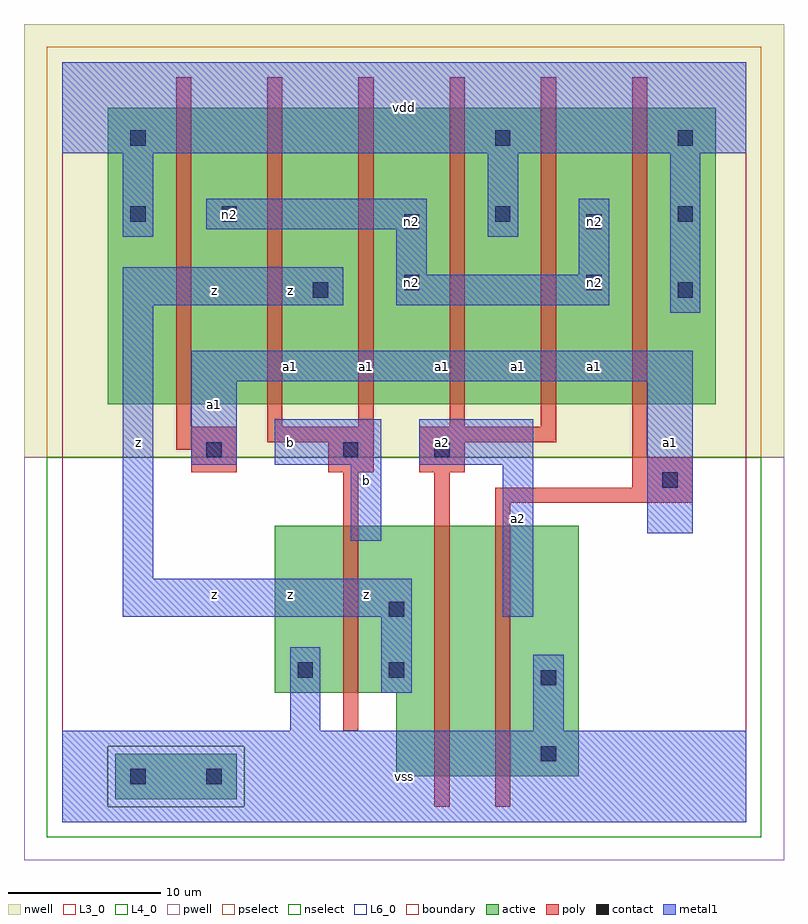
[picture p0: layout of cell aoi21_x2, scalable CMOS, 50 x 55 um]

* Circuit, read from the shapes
.subckt aoi21_x2 a1 a2 b n2 vdd vss z
M1 z b vss vss nfet w=11u l=1u
M2 n1 a2 z vss nfet w=16.5u l=1u
M3 vss a1 n1 vss nfet w=16.5u l=1u
M4 n2 a1 vdd n3 pfet w=19.5u l=1u m=2
M5 z b n2 n3 pfet w=19.5u l=1u m=2
M6 vdd a2 n2 n3 pfet w=19.5u l=1u m=2
.ends

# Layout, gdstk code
import gdstk
lib = gdstk.Library(unit=1e-6, precision=1e-09)
def R(c, l, rs):  # rectangles x0, y0, x1, y1
    for r in rs: c.add(gdstk.rectangle(r[:2], r[2:], *l))
def A(c, l, x, y, w, h, nx, ny, dx, dy):  # array of equal rectangles
    R(c, l, [(x+i*dx, y+j*dy, x+i*dx+w, y+j*dy+h) for i in range(nx) for j in range(ny)])
L3_0 = (3, 0)
L4_0 = (4, 0)
L6_0 = (6, 0)
contact = (25, 0)
pwell = (41, 0)
nwell = (42, 0)
active = (43, 0)
pselect = (44, 0)
nselect = (45, 0)
poly = (46, 0)
metal1 = (49, 0)
boundary = (63, 0)

aoi21_x2 = lib.new_cell('aoi21_x2')
R(aoi21_x2, L3_0, [(22,3,34,8.5), (14,8.5,34,19.5)])
R(aoi21_x2, L4_0, [(3,27.5,43,47)])
R(aoi21_x2, L6_0, [(3.5,1.5,11.5,4.5)])
A(aoi21_x2, contact, 40.5, 34.5, 1, 1, 1, 3, 0, 5)
R(aoi21_x2, contact, [(4.5,2.5,5.5,3.5), (9.5,2.5,10.5,3.5), (31.5,4,32.5,5), (31.5,9,32.5,10), (15.5,9.5,16.5,10.5), (21.5,9.5,22.5,10.5), (21.5,13.5,22.5,14.5), (39.5,22,40.5,23), (9.5,24,10.5,25), (18.5,24,19.5,25), (24.5,24,25.5,25), (16.5,34.5,17.5,35.5), (22.5,35,23.5,36), (34.5,35,35.5,36), (22.5,39,23.5,40), (34.5,39,35.5,40), (4.5,39.5,5.5,40.5), (10.5,39.5,11.5,40.5), (28.5,39.5,29.5,40.5), (4.5,44.5,5.5,45.5), (28.5,44.5,29.5,45.5)])
R(aoi21_x2, pwell, [(-2.5,-2.5,47.5,24)])
R(aoi21_x2, nwell, [(-2.5,24,47.5,52.5)])
R(aoi21_x2, active, [(3.5,1.5,11.5,4.5), (22,3,34,8.5), (14,8.5,34,19.5), (3,27.5,43,47)])
R(aoi21_x2, pselect, [(3,1,12,5), (-1,24,46,51)])
R(aoi21_x2, nselect, [(-1,-1,46,1), (-1,1,3,5), (12,1,46,5), (-1,5,46,24)])
A(aoi21_x2, poly, 7.5, 26, 1, 23, 5, 1, 6, 0)
R(aoi21_x2, poly, [(24.5,1,25.5,23), (28.5,1,29.5,21), (18.5,6,19.5,23), (28.5,21,41.5,22), (37.5,22,41.5,24), (8.5,23,11.5,24.5), (17.5,23,20.5,25), (23.5,23,26.5,25), (37.5,24,38.5,49), (7.5,24.5,11.5,26), (13.5,25,20.5,26), (23.5,25,32.5,26)])
R(aoi21_x2, metal1, [(0,0,45,6), (0,0,45,6), (15,6,17,11.5), (15,6,17,11.5), (31,6,33,11), (31,6,33,11), (21,8.5,23,13.5), (21,8.5,23,13.5), (4,13.5,23,16), (4,13.5,23,16), (29,13.5,31,23.5), (29,13.5,31,23.5), (4,16,6,34), (4,16,6,34), (19,18.5,21,23.5), (19,18.5,21,23.5), (38.5,19,41.5,29), (38.5,19,41.5,29), (8.5,23.5,11.5,29), (8.5,23.5,11.5,29), (14,23.5,21,26.5), (14,23.5,21,26.5), (23.5,23.5,31,26.5), (23.5,23.5,31,26.5), (8.5,29,41.5,31), (8.5,29,41.5,31), (40,33.5,42,44), (40,33.5,42,44), (4,34,18.5,36.5), (4,34,18.5,36.5), (22,34,36,36), (22,34,36,36), (22,36,24,39), (22,36,24,39), (34,36,36,41), (34,36,36,41), (4,38.5,6,44), (4,38.5,6,44), (28,38.5,30,44), (28,38.5,30,44), (9.5,39,24,41), (9.5,39,24,41), (0,44,45,50), (0,44,45,50)])
R(aoi21_x2, boundary, [(0,0,45,50)])
aoi21_x2.add(gdstk.Label('n2', (11,40), layer=49, texttype=0))
aoi21_x2.add(gdstk.Label('n2', (23,35.5), layer=49, texttype=0))
aoi21_x2.add(gdstk.Label('n2', (23,39.5), layer=49, texttype=0))
aoi21_x2.add(gdstk.Label('n2', (35,35.5), layer=49, texttype=0))
aoi21_x2.add(gdstk.Label('n2', (35,39.5), layer=49, texttype=0))
aoi21_x2.add(gdstk.Label('z', (5,25), layer=49, texttype=0))
aoi21_x2.add(gdstk.Label('z', (10,15), layer=49, texttype=0))
aoi21_x2.add(gdstk.Label('b', (20,22.5), layer=49, texttype=0))
aoi21_x2.add(gdstk.Label('z', (20,15), layer=49, texttype=0))
aoi21_x2.add(gdstk.Label('z', (15,15), layer=49, texttype=0))
aoi21_x2.add(gdstk.Label('b', (15,25), layer=49, texttype=0))
aoi21_x2.add(gdstk.Label('a1', (10,27.5), layer=49, texttype=0))
aoi21_x2.add(gdstk.Label('z', (10,35), layer=49, texttype=0))
aoi21_x2.add(gdstk.Label('a1', (20,30), layer=49, texttype=0))
aoi21_x2.add(gdstk.Label('z', (15,35), layer=49, texttype=0))
aoi21_x2.add(gdstk.Label('a1', (15,30), layer=49, texttype=0))
aoi21_x2.add(gdstk.Label('vss', (22.5,3), layer=49, texttype=0))
aoi21_x2.add(gdstk.Label('a2', (30,20), layer=49, texttype=0))
aoi21_x2.add(gdstk.Label('a2', (25,25), layer=49, texttype=0))
aoi21_x2.add(gdstk.Label('a1', (30,30), layer=49, texttype=0))
aoi21_x2.add(gdstk.Label('a1', (25,30), layer=49, texttype=0))
aoi21_x2.add(gdstk.Label('vdd', (22.5,47), layer=49, texttype=0))
aoi21_x2.add(gdstk.Label('a1', (40,25), layer=49, texttype=0))
aoi21_x2.add(gdstk.Label('a1', (35,30), layer=49, texttype=0))

lib.write_gds('aoi21_x2.gds')
